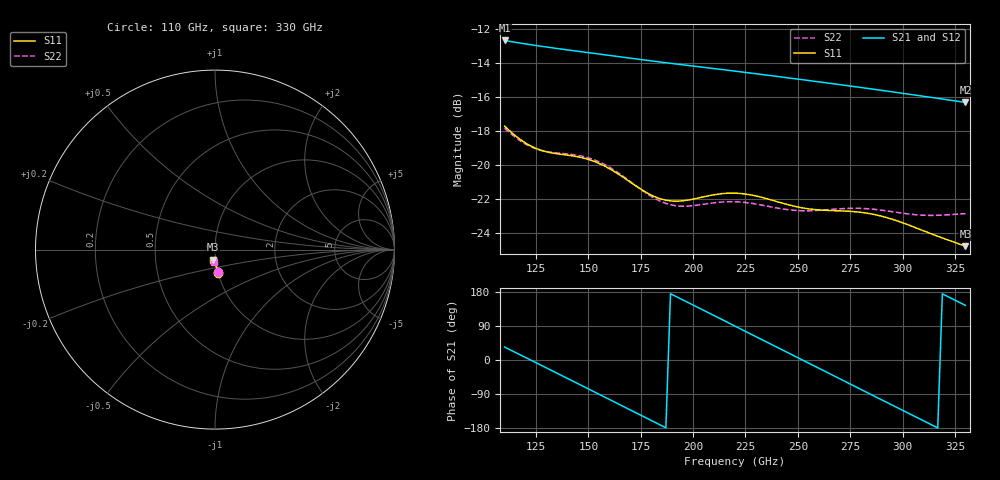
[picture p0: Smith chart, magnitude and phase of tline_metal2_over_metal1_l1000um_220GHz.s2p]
#  GHZ S DB R 50
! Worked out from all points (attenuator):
!   101 points, 110 GHz to 330 GHz, reference 50 ohm
!   highest |S21| = -12.69 dB at 110 GHz (marker M1); lowest = -16.3 dB at 330 GHz (marker M2)
!   lowest |S11| = -24.8 dB at 330 GHz (marker M3), VSWR 1.12, Z = 48.5 - j5.5 ohm
!   |S11| at or under -10 dB: start of sweep to end of sweep
!   |S22| runs from -23.0 to -17.9 dB; largest |S21 - S12| = 2.7e-13
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110  -17.73 -82.8  -12.69 34.1  -12.69 34.1  -17.85 -81.8
118.8  -18.63 -82.1  -12.87 9.9  -12.87 9.9  -18.70 -80.9
127.6  -19.16 -80.6  -13.03 -14.3  -13.03 -14.3  -19.16 -79.3
138.6  -19.41 -80.3  -13.22 -44.7  -13.22 -44.7  -19.35 -79.3
147.4  -19.60 -82.0  -13.36 -69.1  -13.36 -69.1  -19.51 -81.4
156.2  -19.98 -84.7  -13.51 -93.5  -13.51 -93.5  -19.89 -84.4
165  -20.60 -86.7  -13.65 -117.9  -13.65 -117.9  -20.54 -87.0
176  -21.51 -86.7  -13.83 -148.4  -13.83 -148.4  -21.53 -87.5
184.8  -22.02 -84.4  -13.96 -172.8  -13.96 -172.8  -22.17 -85.4
193.6  -22.14 -81.7  -14.10 162.7  -14.10 162.7  -22.43 -82.4
204.6  -21.90 -80.6  -14.26 132.2  -14.26 132.2  -22.33 -80.4
220  -21.67 -83.8  -14.49 89.4  -14.49 89.4  -22.17 -81.8
228.8  -21.80 -86.5  -14.63 65.0  -14.63 65.0  -22.29 -83.3
239.8  -22.16 -88.9  -14.80 34.4  -14.80 34.4  -22.54 -84.3
248.6  -22.45 -89.8  -14.94 9.9  -14.94 9.9  -22.68 -84.3
257.4  -22.63 -90.2  -15.08 -14.5  -15.08 -14.5  -22.70 -84.3
268.4  -22.70 -91.3  -15.26 -45.1  -15.26 -45.1  -22.60 -85.2
277.2  -22.76 -93.0  -15.41 -69.5  -15.41 -69.5  -22.56 -86.8
286  -22.91 -95.4  -15.55 -93.9  -15.55 -93.9  -22.61 -88.7
294.8  -23.19 -97.7  -15.71 -118.3  -15.71 -118.3  -22.76 -90.3
312.4  -24.00 -100.7  -16.02 -167.1  -16.02 -167.1  -22.98 -92.1
330  -24.79 -101.6  -16.33 144.2  -16.33 144.2  -22.87 -95.0
